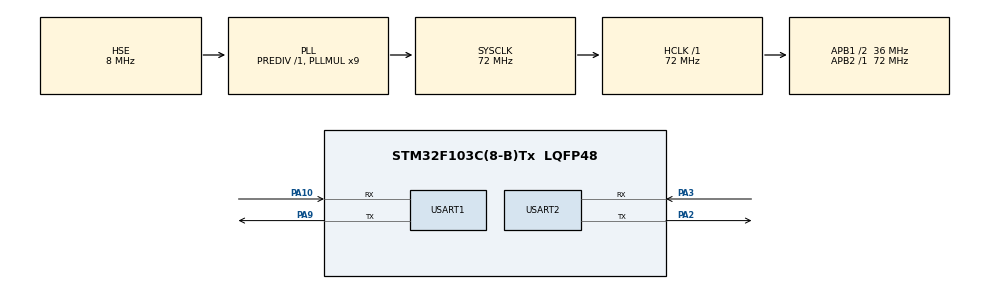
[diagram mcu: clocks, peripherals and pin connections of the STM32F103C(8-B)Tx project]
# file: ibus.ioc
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Dma.Request0=USART1_RX
Dma.USART1_RX.0.Direction=DMA_PERIPH_TO_MEMORY
Dma.USART1_RX.0.Instance=DMA1_Channel5
Dma.USART1_RX.0.MemDataAlignment=DMA_MDATAALIGN_BYTE
Dma.USART1_RX.0.MemInc=DMA_MINC_ENABLE
Dma.USART1_RX.0.Mode=DMA_CIRCULAR
Dma.USART1_RX.0.PeriphDataAlignment=DMA_PDATAALIGN_BYTE
Dma.USART1_RX.0.PeriphInc=DMA_PINC_DISABLE
Dma.USART1_RX.0.Priority=DMA_PRIORITY_MEDIUM
Mcu.Family=STM32F1
Mcu.Name=STM32F103C(8-B)Tx
Mcu.Package=LQFP48
NVIC.DMA1_Channel5_IRQn=true\:0\:0\:false\:false\:true\:false\:true\:true
NVIC.PriorityGroup=NVIC_PRIORITYGROUP_4
NVIC.USART1_IRQn=true\:0\:0\:false\:false\:true\:true\:true\:true
NVIC.USART2_IRQn=true\:0\:0\:false\:false\:true\:true\:true\:true
PA10.Mode=Asynchronous
PA10.Signal=USART1_RX
PA13.Mode=Serial_Wire
PA13.Signal=SYS_JTMS-SWDIO
PA14.Mode=Serial_Wire
PA14.Signal=SYS_JTCK-SWCLK
PA2.Mode=Asynchronous
PA2.Signal=USART2_TX
PA3.Mode=Asynchronous
PA3.Signal=USART2_RX
PA9.Mode=Asynchronous
PA9.Signal=USART1_TX
PD0-OSC_IN.Mode=HSE-External-Oscillator
PD0-OSC_IN.Signal=RCC_OSC_IN
PD1-OSC_OUT.Mode=HSE-External-Oscillator
PD1-OSC_OUT.Signal=RCC_OSC_OUT
ProjectManager.HeapSize=0x200
ProjectManager.StackSize=0x400
ProjectManager.TargetToolchain=MDK-ARM V5.32
RCC.AHBFreq_Value=72000000
RCC.APB1CLKDivider=RCC_HCLK_DIV2
RCC.APB1Freq_Value=36000000
RCC.APB1TimFreq_Value=72000000
RCC.APB2Freq_Value=72000000
RCC.APB2TimFreq_Value=72000000
RCC.HCLKFreq_Value=72000000
RCC.PLLMUL=RCC_PLL_MUL9
RCC.PLLSourceVirtual=RCC_PLLSOURCE_HSE
RCC.SYSCLKFreq_VALUE=72000000
RCC.SYSCLKSource=RCC_SYSCLKSOURCE_PLLCLK
RCC.USBFreq_Value=72000000
USART1.VirtualMode=VM_ASYNC
USART2.VirtualMode=VM_ASYNC
board=custom

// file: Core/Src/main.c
/* USER CODE BEGIN Header */
/**
  ******************************************************************************
  * @file : main.c
  * @brief : Main program body
  ******************************************************************************
  * @attention
  *
  * Copyright (c) 2025 STMicroelectronics.
  * All rights reserved.
  *
  * This software is licensed under terms that can be found in the LICENSE file
  * in the root directory of this software component.
  * If no LICENSE file comes with this software, it is provided AS-IS.
  *
  ******************************************************************************
  */
/* USER CODE END Header */
#include "main.h"
/* USER CODE BEGIN Includes */
#include <string.h>
#include <stdbool.h>
#ifdef MAVPACKED
#undef MAVPACKED
#endif
#if defined(__CC_ARM) || defined(__ARMCC_VERSION)
  #define MAVPACKED(__Declaration__) __attribute__((__packed__)) __Declaration__
#else
  #define MAVPACKED(__Declaration__) __pragma(pack(push, 1)) __Declaration__ __pragma(pack(pop))
#endif
#include "mavlink/common/mavlink.h"
/* USER CODE END Includes */
/* USER CODE BEGIN PD */
#define PX4_MAIN_MODE_MANUAL 1
#define PX4_MAIN_MODE_ALTCTL 2
#define PX4_MAIN_MODE_POSCTL 3
#define PX4_MAIN_MODE_AUTO 4
#define PX4_MAIN_MODE_ACRO 5
#define PX4_MAIN_MODE_OFFBOARD 6
#define PX4_MAIN_MODE_STABILIZED 7
#define PX4_MAIN_MODE_RATTITUDE 8
#define PX4_MAIN_MODE_SIMPLE 9
/* USER CODE END PD */
UART_HandleTypeDef huart1;
UART_HandleTypeDef huart2;
DMA_HandleTypeDef hdma_usart1_rx;
/* USER CODE BEGIN PV */
uint8_t ibus_buf[32] = {0};
uint8_t framebuf[32] = {0};
volatile bool ibus_frame_ready = false;
uint16_t roll, pitch, yaw, throttle, AUX1, AUX2;
uint16_t channels[14];
int16_t manual_x = 0; // Roll
int16_t manual_y = 0; // Pitch
int16_t manual_z = 500; // Throttle (0..1000)
int16_t manual_r = 0; // Yaw
uint8_t target_sysid = 1;   // Default PX4 system ID
uint8_t target_compid = 1;  // Default PX4 component ID
uint8_t my_sysid = 255;     // GCS-like system ID
uint8_t my_compid = 0;    // GCS-like component ID
/* USER CODE END PV */
void SystemClock_Config(void);
static void MX_GPIO_Init(void);
static void MX_DMA_Init(void);
static void MX_USART1_UART_Init(void);
static void MX_USART2_UART_Init(void);
/* USER CODE BEGIN 0 */
int16_t scale_to_manual(float val, uint8_t is_throttle) {
    val = fmaxf(fminf(val, 1.0f), -1.0f);
    if (is_throttle) {
        return (int16_t)((val + 1.0f) * 500.0f);
    } else {
        return (int16_t)(val * 1000.0f);
    }
}

static inline uint32_t px4_custom_mode(uint8_t main_mode, uint8_t sub_mode)
{
    return ((uint32_t)main_mode << 16) | ((uint32_t)sub_mode << 24);
}

void send_heartbeat(void) {
    mavlink_message_t msg;
    uint8_t buffer[MAVLINK_MAX_PACKET_LEN];
    uint16_t len;
    mavlink_msg_heartbeat_pack(
        my_sysid, my_compid, &msg,
        MAV_TYPE_GCS, MAV_AUTOPILOT_INVALID, 0, 0, 0
    );
    len = mavlink_msg_to_send_buffer(buffer, &msg);
    HAL_UART_Transmit(&huart2, buffer, len, HAL_MAX_DELAY);
}

void send_command_long(uint16_t command, float param1) {
    mavlink_message_t msg;
    uint8_t buffer[MAVLINK_MAX_PACKET_LEN];
    uint16_t len;
    mavlink_msg_command_long_pack(
        my_sysid, my_compid, &msg,
        target_sysid, target_compid, command, 0,
        param1, 0, 0, 0, 0, 0, 0
    );
    len = mavlink_msg_to_send_buffer(buffer, &msg);
    HAL_UART_Transmit(&huart2, buffer, len, HAL_MAX_DELAY);
}

void send_manual_control(void) {
    mavlink_message_t msg;
    uint8_t buffer[MAVLINK_MAX_PACKET_LEN];
    uint16_t len;
    mavlink_msg_manual_control_pack(
        my_sysid, my_compid, &msg,
        target_sysid,
        manual_x, manual_y, manual_z, manual_r,
        0, 0, 0, 0, 0, 0, 0, 0, 0, 0, 0
    );
    len = mavlink_msg_to_send_buffer(buffer, &msg);
    HAL_UART_Transmit(&huart2, buffer, len, HAL_MAX_DELAY);
}

void arm(void) {
    send_command_long(MAV_CMD_COMPONENT_ARM_DISARM, 1.0f);
}

void disarm(void) {
    send_command_long(MAV_CMD_COMPONENT_ARM_DISARM, 0.0f);
}

void send_set_mode(uint8_t base_mode, uint8_t main_mode, uint8_t sub_mode)
{
    mavlink_message_t msg;
    uint8_t buffer[MAVLINK_MAX_PACKET_LEN];
    uint16_t len;
    uint32_t custom_mode = px4_custom_mode(main_mode, sub_mode);
    mavlink_msg_set_mode_pack(
        my_sysid, my_compid, &msg,
        target_sysid, base_mode, custom_mode
    );
    len = mavlink_msg_to_send_buffer(buffer, &msg);
    HAL_UART_Transmit(&huart2, buffer, len, HAL_MAX_DELAY);
}
uint8_t wait_heartbeat(void) {
    uint8_t rx_buf[MAVLINK_MAX_PACKET_LEN];
    mavlink_message_t msg;
    mavlink_status_t status;

    uint32_t timeout = HAL_GetTick() + 3000; // 3 seconds timeout
    while (HAL_GetTick() < timeout) {
        uint8_t byte;
        if (HAL_UART_Receive(&huart2, &byte, 1, 10) == HAL_OK) {
            if (mavlink_parse_char(MAVLINK_COMM_0, byte, &msg, &status)) {
                if (msg.msgid == MAVLINK_MSG_ID_HEARTBEAT) {
                    target_sysid = msg.sysid;
                    target_compid = msg.compid;
                    return 1;
                }
            }
        }
    }
    return 0;
}

void receive_mavlink(void) {
    uint8_t rx_buf[MAVLINK_MAX_PACKET_LEN];
    mavlink_message_t msg;
    mavlink_status_t status;
    if (HAL_UART_Receive(&huart2, rx_buf, sizeof(rx_buf), 10) == HAL_OK) {
        for (uint16_t i = 0; i < sizeof(rx_buf); i++) {
            if (mavlink_parse_char(MAVLINK_COMM_0, rx_buf[i], &msg, &status)) {
                if (msg.msgid == MAVLINK_MSG_ID_COMMAND_ACK) {
                    // Handle COMMAND_ACK silently
                }
            }
        }
    }
}

bool check_ibus(uint8_t* buf) {
    if (buf[0] != 0x20 || buf[1] != 0x40) {
        return false;
    }
    uint16_t sum = 0;
    for (int i = 0; i < 30; i++) {
        sum += buf[i];
    }
    uint16_t checksum = buf[30] | (buf[31] << 8);
    return (checksum == (uint16_t)(0xFFFF - sum));
}

void parse_ibus(uint8_t* buf) {
    for (int i = 0; i < 14; i++) {
        channels[i] = buf[i * 2 + 2] | (buf[i * 2 + 3] << 8);
    }
    roll = channels[0];
    pitch = channels[1];
    throttle = channels[2];
    yaw = channels[3];
    AUX1 = channels[4];
		AUX2 = channels[5];
    // Scale to [-1, 1]
		float roll_f = (float)(roll - 1500) / 500.0f;
    float pitch_f = (float)(pitch - 1500) / 500.0f;
    float throttle_f = (float)(throttle - 1500) / 500.0f;
    float yaw_f = (float)(yaw - 1500) / 500.0f;
    // Scale to manual control values
		roll_f = fmaxf(fminf(roll_f, 1.0f), -1.0f);
    pitch_f = fmaxf(fminf(pitch_f, 1.0f), -1.0f);
    throttle_f = fmaxf(fminf(throttle_f, 1.0f), -1.0f);
    yaw_f = fmaxf(fminf(yaw_f, 1.0f), -1.0f);

    manual_x = scale_to_manual(pitch_f, 0);
    manual_y = scale_to_manual(roll_f, 0);
    manual_z = scale_to_manual(throttle_f, 1);
    manual_r = scale_to_manual(yaw_f, 0);

    if (throttle_f <= -0.9f && roll_f < -0.5f && yaw_f > 0.5f && pitch_f <= 0.9f) {
        arm();
    }
    else if (throttle_f <= -0.9f && roll_f > 0.5f && yaw_f < -0.5f && pitch_f <= 0.9f) {
        disarm();
    }
		if (AUX1 > 1800) {
						send_command_long(MAV_CMD_NAV_LAND, 0.0f);
				} else {
						if (AUX2 < 1400) {
								send_set_mode(MAV_MODE_FLAG_CUSTOM_MODE_ENABLED, PX4_MAIN_MODE_POSCTL, 0);
						} else if (AUX2 >= 1400 && AUX2 < 1600) {
								send_set_mode(MAV_MODE_FLAG_CUSTOM_MODE_ENABLED, PX4_MAIN_MODE_OFFBOARD, 0);
						} else if (AUX2 >= 1600) {
								send_set_mode(MAV_MODE_FLAG_CUSTOM_MODE_ENABLED, PX4_MAIN_MODE_MANUAL, 0);
						}
				}
}

void USART1_IdleHandler(void) {
    HAL_UART_IRQHandler(&huart1);
    if (__HAL_UART_GET_FLAG(&huart1, UART_FLAG_IDLE) != RESET) {
        __HAL_UART_CLEAR_IDLEFLAG(&huart1);
        HAL_UART_DMAStop(&huart1);
        memcpy(framebuf, ibus_buf, 32);
        ibus_frame_ready = true;
        HAL_UART_Receive_DMA(&huart1, ibus_buf, 32);
    }
}
/* USER CODE END 0 */
int main(void) {
    /* MCU Configuration--------------------------------------------------------*/
    HAL_Init();
    /* Configure the system clock */
    SystemClock_Config();
    /* Initialize all configured peripherals */
    MX_GPIO_Init();
    MX_DMA_Init();
    MX_USART1_UART_Init();
    MX_USART2_UART_Init();
    /* USER CODE BEGIN 2 */
    HAL_UART_Receive_DMA(&huart1, ibus_buf, 32);

    /* USER CODE END 2 */
    /* Infinite loop */
    /* USER CODE BEGIN WHILE */
    uint32_t last_10hz = 0;
    uint32_t last_20hz = 0;

    while (1) {
        /* USER CODE END WHILE */
        /* USER CODE BEGIN 3 */
        uint32_t current_time = HAL_GetTick();
				receive_mavlink();

        if (ibus_frame_ready) {
            ibus_frame_ready = false;
            if (check_ibus(framebuf)) {
                parse_ibus(framebuf);

            }
        }

        if (current_time - last_10hz >= 100) {
            send_heartbeat();
            last_10hz = current_time;
        }

        if (current_time - last_20hz >= 50) {
            send_manual_control();
            last_20hz = current_time;
        }
        /* USER CODE END 3 */
    }
    /* USER CODE END 3 */
}
void SystemClock_Config(void) {
    RCC_OscInitTypeDef RCC_OscInitStruct = {0};
    RCC_ClkInitTypeDef RCC_ClkInitStruct = {0};
    RCC_OscInitStruct.OscillatorType = RCC_OSCILLATORTYPE_HSE;
    RCC_OscInitStruct.HSEState = RCC_HSE_ON;
    RCC_OscInitStruct.HSEPredivValue = RCC_HSE_PREDIV_DIV1;
    RCC_OscInitStruct.HSIState = RCC_HSI_ON;
    RCC_OscInitStruct.PLL.PLLState = RCC_PLL_ON;
    RCC_OscInitStruct.PLL.PLLSource = RCC_PLLSOURCE_HSE;
    RCC_OscInitStruct.PLL.PLLMUL = RCC_PLL_MUL9;
    if (HAL_RCC_OscConfig(&RCC_OscInitStruct) != HAL_OK) {
        Error_Handler();
    }
    RCC_ClkInitStruct.ClockType = RCC_CLOCKTYPE_HCLK|RCC_CLOCKTYPE_SYSCLK
                                |RCC_CLOCKTYPE_PCLK1|RCC_CLOCKTYPE_PCLK2;
    RCC_ClkInitStruct.SYSCLKSource = RCC_SYSCLKSOURCE_PLLCLK;
    RCC_ClkInitStruct.AHBCLKDivider = RCC_SYSCLK_DIV1;
    RCC_ClkInitStruct.APB1CLKDivider = RCC_HCLK_DIV2;
    RCC_ClkInitStruct.APB2CLKDivider = RCC_HCLK_DIV1;
    if (HAL_RCC_ClockConfig(&RCC_ClkInitStruct, FLASH_LATENCY_2) != HAL_OK) {
        Error_Handler();
    }
}
static void MX_USART1_UART_Init(void) {
    huart1.Instance = USART1;
    huart1.Init.BaudRate = 115200;
    huart1.Init.WordLength = UART_WORDLENGTH_8B;
    huart1.Init.StopBits = UART_STOPBITS_1;
    huart1.Init.Parity = UART_PARITY_NONE;
    huart1.Init.Mode = UART_MODE_TX_RX;
    huart1.Init.HwFlowCtl = UART_HWCONTROL_NONE;
    huart1.Init.OverSampling = UART_OVERSAMPLING_16;
    if (HAL_UART_Init(&huart1) != HAL_OK) {
        Error_Handler();
    }
    __HAL_UART_ENABLE_IT(&huart1, UART_IT_IDLE);
    HAL_NVIC_SetPriority(USART1_IRQn, 0, 0);
    HAL_NVIC_EnableIRQ(USART1_IRQn);
}
static void MX_USART2_UART_Init(void) {
    huart2.Instance = USART2;
    huart2.Init.BaudRate = 115200;
    huart2.Init.WordLength = UART_WORDLENGTH_8B;
    huart2.Init.StopBits = UART_STOPBITS_1;
    huart2.Init.Parity = UART_PARITY_NONE;
    huart2.Init.Mode = UART_MODE_TX_RX;
    huart2.Init.HwFlowCtl = UART_HWCONTROL_NONE;
    huart2.Init.OverSampling = UART_OVERSAMPLING_16;
    if (HAL_UART_Init(&huart2) != HAL_OK) {
        Error_Handler();
    }
}
static void MX_DMA_Init(void) {
    __HAL_RCC_DMA1_CLK_ENABLE();
    HAL_NVIC_SetPriority(DMA1_Channel5_IRQn, 0, 0);
    HAL_NVIC_EnableIRQ(DMA1_Channel5_IRQn);
}
static void MX_GPIO_Init(void) {
    __HAL_RCC_GPIOD_CLK_ENABLE();
    __HAL_RCC_GPIOA_CLK_ENABLE();
}
void Error_Handler(void) {
    __disable_irq();
    while (1) {
    }
}
